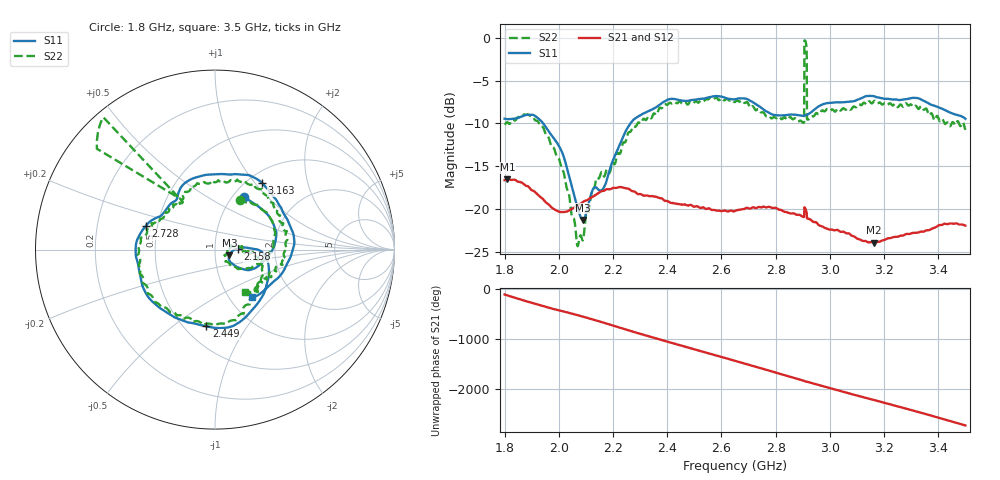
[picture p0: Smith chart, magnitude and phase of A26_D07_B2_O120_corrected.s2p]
! Created with skrf 1.9.0 (http://scikit-rf.org).
# Hz S RI R 50.0
!freq ReS11 ImS11 ReS21 ImS21 ReS12 ImS12 ReS22 ImS22
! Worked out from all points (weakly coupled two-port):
!   1601 points, 1.8 GHz to 3.5 GHz, reference 50 ohm
!   highest |S21| = -16.55 dB at 1.811 GHz (marker M1); lowest = -24.0 dB at 3.163 GHz (marker M2)
!   lowest |S11| = -21.3 dB at 2.089 GHz (marker M3), VSWR 1.19, Z = 58.6 - j3.8 ohm
!   |S11| at or under -10 dB: 1.942 GHz to 2.264 GHz (322.4 MHz wide, 15.3 % of centre)
!   |S22| runs from -24.4 to -0.3 dB; largest |S21 - S12| = 0.0027
!   S11 on the Smith chart (normalised r, x): 1.8 GHz: 1.12, +0.75; 2.158 GHz: 1.29, +0.01; 2.449 GHz: 0.64, -0.67; 2.728 GHz: 0.43, +0.13; 3.163 GHz: 1.16, +1.09; 3.5 GHz: 1.27, -0.76
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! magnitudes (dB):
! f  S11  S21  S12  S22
! 1.8 GHz  -9.5  -16.7  -16.7  -10.2
! 1.811 GHz  -9.5  -16.6  -16.6  -9.9
! 1.942 GHz  -10.0  -18.9  -18.9  -10.5
! 2.013 GHz  -13.4  -20.4  -20.4  -15.4
! 2.067 GHz  -19.6  -19.6  -19.6  -24.0
! 2.084 GHz  -21.2  -19.3  -19.3  -23.3
! 2.089 GHz  -21.3  -19.2  -19.2  -23.7
! 2.127 GHz  -17.6  -18.6  -18.6  -17.9
! 2.158 GHz  -17.8  -17.9  -17.9  -15.7
! 2.26 GHz  -10.2  -17.7  -17.7  -11.0
! 2.367 GHz  -7.9  -18.7  -18.7  -8.5
! 2.449 GHz  -7.3  -19.5  -19.5  -7.5
! 2.65 GHz  -7.2  -20.2  -20.2  -7.5
! 2.728 GHz  -7.8  -19.9  -19.9  -8.5
! 2.897 GHz  -9.1  -20.9  -20.9  -9.8
! 2.906 GHz  -9.1  -19.8  -19.8  -0.3
! 2.915 GHz  -9.0  -20.5  -20.5  -1.3
! 2.924 GHz  -8.9  -21.2  -21.2  -9.5
! 2.934 GHz  -8.6  -21.4  -21.4  -9.2
! 3.163 GHz  -6.8  -24.0  -23.9  -7.4
! 3.217 GHz  -7.2  -23.4  -23.4  -7.7
! 3.5 GHz  -9.5  -22.0  -22.0  -10.8
